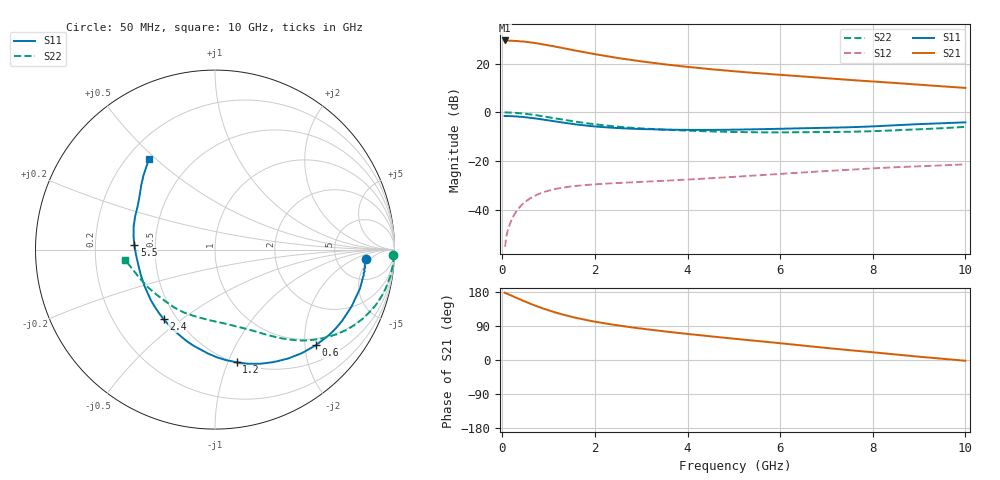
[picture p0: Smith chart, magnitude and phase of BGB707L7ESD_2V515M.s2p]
!  Infineon Technologies AG
!  BGB707L7ESD
!  Vce = 2.5V, Ic = 15.0mA
!  DATUM: 30.06.2009 10:17:09
# GHz  S  MA  R  50
!f  S11  S21  S12  S22
!GHz  Mag  Ang  Mag  Ang  Mag  Ang  Mag  Ang
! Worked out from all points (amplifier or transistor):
!   52 points, 50 MHz to 10 GHz, reference 50 ohm
!   highest |S21| = 29.6 dB at 60 MHz (marker M1)
!   |S21| within 3 dB of that: start of sweep to 1.272 GHz
!   unconditionally stable (mu >= 1): 4.723 GHz to 9.107 GHz
!   at 130 MHz: K = 0.01, MSG = 38.8 dB, |S12| = -48.0 dB
!   at 1.4 GHz: K = 0.36, MSG = 28.4 dB, |S12| = -30.7 dB
!   at 10 GHz: K = 0.94, MSG = 15.7 dB, |S12| = -21.4 dB
!   S11 on the Smith chart (normalised r, x): 50 MHz: 10, -4; 600 MHz: 0.84, -2.24; 1.2 GHz: 0.51, -1.08; 2.4 GHz: 0.43, -0.43; 5.5 GHz: 0.38, +0.02; 10 GHz: 0.29, +0.47
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0.05  0.8434 -3.5  29.58 177.6  0.001793 87.5  0.9946 -1.7
0.06  0.8426 -4.7  30.11 177.0  0.001774 85.7  0.995 -2.2
0.08  0.8384 -5.7  29.64 175.8  0.002553 90.4  0.9958 -3.2
0.09  0.8427 -6.9  29.9 175.9  0.002936 87.9  0.9956 -3.7
0.13  0.8411 -9.8  29.92 173.4  0.003968 85.6  0.9936 -5.5
0.3  0.8248 -22.3  29.38 164.4  0.009137 78.6  0.975 -13.0
0.45  0.8035 -33.1  28.65 156.3  0.01334 72.7  0.9469 -19.2
0.6  0.7744 -43.5  27.52 148.7  0.01707 67.6  0.9099 -25.0
0.7  0.7527 -50.1  26.74 143.9  0.01925 64.3  0.8825 -28.6
0.9  0.7066 -62.5  24.79 135.2  0.02299 58.7  0.8241 -35.0
1.2  0.6395 -79.1  21.95 123.5  0.0272 52.1  0.7383 -43.0
1.5  0.5814 -93.6  19.34 113.9  0.03008 47.4  0.6629 -49.3
1.8  0.5376 -106.0  17.07 105.9  0.03207 44.4  0.6024 -54.4
2  0.5133 -113.5  15.74 101.2  0.03311 43.0  0.5692 -57.4
2.4  0.4815 -126.6  13.58 93.0  0.0349 41.6  0.5182 -62.6
2.8  0.4611 -137.5  11.92 86.0  0.03648 41.2  0.4823 -67.3
3.5  0.4423 -152.7  9.741 75.5  0.03926 41.9  0.4413 -75.2
4.5  0.4359 -169.3  7.725 62.5  0.04422 44.2  0.4062 -86.6
5.5  0.4495 176.9  6.415 50.3  0.05057 45.9  0.3894 -100.7
7  0.4821 157.2  5.043 31.8  0.06216 45.6  0.3944 -125.2
8.5  0.5443 139.1  4.018 14.5  0.07452 42.4  0.4289 -150.7
10  0.6235 126.2  3.186 -2.0  0.08543 38.4  0.5038 -173.4
